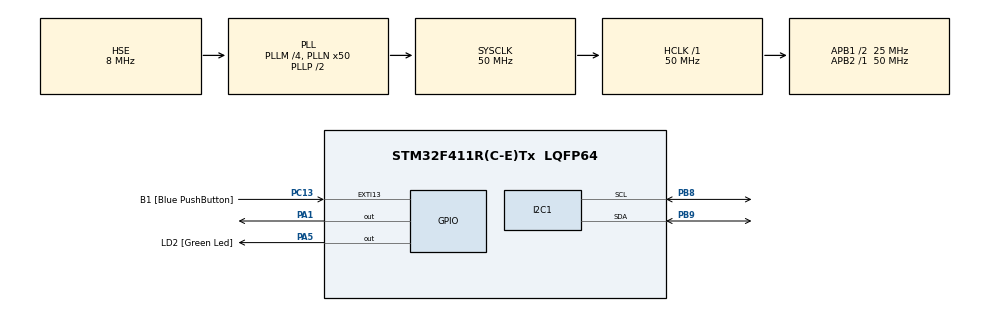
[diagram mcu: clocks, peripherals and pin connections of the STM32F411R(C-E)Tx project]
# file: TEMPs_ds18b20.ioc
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Mcu.Family=STM32F4
Mcu.Name=STM32F411R(C-E)Tx
Mcu.Package=LQFP64
NVIC.PriorityGroup=NVIC_PRIORITYGROUP_0
PA1.Signal=GPIO_Output
PA13.GPIO_Label=TMS
PA13.Signal=SYS_JTMS-SWDIO
PA14.GPIO_Label=TCK
PA14.Signal=SYS_JTCK-SWCLK
PA2.GPIO_Label=USART_TX
PA2.Signal=USART2_TX
PA3.GPIO_Label=USART_RX
PA3.Signal=USART2_RX
PA5.GPIO_Label=LD2 [Green Led]
PA5.Signal=GPIO_Output
PB3.GPIO_Label=SWO
PB3.Signal=SYS_JTDO-SWO
PB8.Mode=I2C
PB8.Signal=I2C1_SCL
PB9.Mode=I2C
PB9.Signal=I2C1_SDA
PC13-ANTI_TAMP.GPIO_Label=B1 [Blue PushButton]
PC13-ANTI_TAMP.GPIO_ModeDefaultEXTI=GPIO_MODE_IT_FALLING
PC13-ANTI_TAMP.Signal=GPXTI13
PC14-OSC32_IN.Signal=RCC_OSC32_IN
PC15-OSC32_OUT.Signal=RCC_OSC32_OUT
PH0\ -\ OSC_IN.Mode=HSE-External-Oscillator
PH0\ -\ OSC_IN.Signal=RCC_OSC_IN
PH1\ -\ OSC_OUT.Mode=HSE-External-Oscillator
PH1\ -\ OSC_OUT.Signal=RCC_OSC_OUT
ProjectManager.HeapSize=0x200
ProjectManager.StackSize=0x400
ProjectManager.TargetToolchain=STM32CubeIDE
RCC.48MHZClocksFreq_Value=25000000
RCC.AHBFreq_Value=50000000
RCC.APB1CLKDivider=RCC_HCLK_DIV2
RCC.APB1Freq_Value=25000000
RCC.APB1TimFreq_Value=50000000
RCC.APB2Freq_Value=50000000
RCC.APB2TimFreq_Value=50000000
RCC.CortexFreq_Value=50000000
RCC.FLatency-AdvancedSettings=FLASH_LATENCY_1
RCC.HCLKFreq_Value=50000000
RCC.HSE_VALUE=8000000
RCC.HSI_VALUE=16000000
RCC.LSE_VALUE=32768
RCC.PLLM=4
RCC.PLLN=50
RCC.PLLSourceVirtual=RCC_PLLSOURCE_HSE
RCC.SYSCLKFreq_VALUE=50000000
RCC.SYSCLKSource=RCC_SYSCLKSOURCE_PLLCLK
RCC.VCOOutputFreq_Value=100000000
TIM11.Period=0xffff-1
TIM11.Prescaler=50-1
VP_TIM11_VS_ClockSourceINT.Mode=Enable_Timer
board=NUCLEO-F411RE

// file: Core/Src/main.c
/* USER CODE BEGIN Header */
/**
  ******************************************************************************
  * @file           : main.c
  * @brief          : Main program body using SSD1306 OLED display and DS18B20 sensor
  ******************************************************************************
  * @attention
  *
  * Copyright (c) 2025 STMicroelectronics.
  * All rights reserved.
  *
  * This software is licensed under terms that can be found in the LICENSE file
  * in the root directory of this software component.
  * If no LICENSE file comes with this software, it is provided AS-IS.
  *
  ******************************************************************************
  */
/* USER CODE END Header */
#include "main.h"

/* USER CODE BEGIN Includes */
#include "ssd1306.h"
#include "ssd1306_fonts.h"
#include "stdio.h"
/* USER CODE END Includes */

I2C_HandleTypeDef hi2c1;
TIM_HandleTypeDef htim11;

void SystemClock_Config(void);
static void MX_GPIO_Init(void);
static void MX_I2C1_Init(void);
static void MX_TIM11_Init(void);

/* USER CODE BEGIN 0 */

/* Delay function using TIM11 */
void delay (uint16_t time)
{
    __HAL_TIM_SET_COUNTER(&htim11, 0);
    while ((__HAL_TIM_GET_COUNTER(&htim11)) < time);
}

/* Display temperature on the SSD1306 OLED */
void Display_Temp (float Temp)
{
    char str[20] = {0};
    ssd1306_SetCursor(0, 0);
    sprintf(str, "TEMP:- %.2f C", Temp);
    ssd1306_WriteString(str, Font_7x10, White);
    ssd1306_UpdateScreen();
}

/* DS18B20 functions and pin configuration */

#define DS18B20_PORT 	GPIOA
#define DS18B20_PIN 	GPIO_PIN_1

/* Configure pin as output */
void Set_Pin_Output (GPIO_TypeDef *GPIOx, uint16_t GPIO_Pin)
{
    GPIO_InitTypeDef GPIO_InitStruct = {0};
    GPIO_InitStruct.Pin = GPIO_Pin;
    GPIO_InitStruct.Mode = GPIO_MODE_OUTPUT_OD;
    GPIO_InitStruct.Speed = GPIO_SPEED_FREQ_LOW;
    HAL_GPIO_Init(GPIOx, &GPIO_InitStruct);
}

/* Configure pin as input */
void Set_Pin_Input (GPIO_TypeDef *GPIOx, uint16_t GPIO_Pin)
{
    GPIO_InitTypeDef GPIO_InitStruct = {0};
    GPIO_InitStruct.Pin = GPIO_Pin;
    GPIO_InitStruct.Mode = GPIO_MODE_INPUT;
    GPIO_InitStruct.Pull = GPIO_NOPULL;
    HAL_GPIO_Init(GPIOx, &GPIO_InitStruct);
}

/* DS18B20 Start signal */
uint8_t DS18B20_Start(void)
{
    uint8_t Response = 0;
    Set_Pin_Output(DS18B20_PORT, DS18B20_PIN); // set the pin as output
    HAL_GPIO_WritePin(DS18B20_PORT, DS18B20_PIN, 0); // pull the pin low
    delay(480); // delay according to datasheet

    Set_Pin_Input(DS18B20_PORT, DS18B20_PIN); // set the pin as input
    delay(80); // delay according to datasheet

    if (!(HAL_GPIO_ReadPin(DS18B20_PORT, DS18B20_PIN)))
        Response = 1; // presence pulse detected
    else
        Response = 0;

    delay(400); // complete the initialization delay

    return Response;
}

/* DS18B20 Write byte */
void DS18B20_Write(uint8_t data)
{
    Set_Pin_Output(DS18B20_PORT, DS18B20_PIN); // set as output

    for (int i = 0; i < 8; i++)
    {
        if ((data & (1 << i)) != 0) // if the bit is high
        {
            // write 1
            Set_Pin_Output(DS18B20_PORT, DS18B20_PIN);
            HAL_GPIO_WritePin(DS18B20_PORT, DS18B20_PIN, 0); // pull low
            delay(1); // wait 1 µs
            Set_Pin_Input(DS18B20_PORT, DS18B20_PIN); // release bus
            delay(60);
        }
        else // if the bit is low
        {
            // write 0
            Set_Pin_Output(DS18B20_PORT, DS18B20_PIN);
            HAL_GPIO_WritePin(DS18B20_PORT, DS18B20_PIN, 0); // pull low
            delay(60);
            Set_Pin_Input(DS18B20_PORT, DS18B20_PIN);
        }
    }
}

/* DS18B20 Read byte */
uint8_t DS18B20_Read(void)
{
    uint8_t value = 0;
    Set_Pin_Input(DS18B20_PORT, DS18B20_PIN);

    for (int i = 0; i < 8; i++)
    {
        Set_Pin_Output(DS18B20_PORT, DS18B20_PIN); // drive line low
        HAL_GPIO_WritePin(DS18B20_PORT, DS18B20_PIN, 0);
        delay(2); // wait 2 µs

        Set_Pin_Input(DS18B20_PORT, DS18B20_PIN); // release bus
        if (HAL_GPIO_ReadPin(DS18B20_PORT, DS18B20_PIN))
        {
            value |= 1 << i; // read a '1'
        }
        delay(60);
    }
    return value;
}

/* USER CODE END 0 */

int main(void)
{
  /* USER CODE BEGIN 1 */
  float Temperature = 0;
  uint8_t Temp_byte1 = 0, Temp_byte2 = 0;
  uint16_t TEMP = 0;
  uint8_t Presence = 0;
  /* USER CODE END 1 */

  /* MCU Configuration--------------------------------------------------------*/

  /* Reset of all peripherals, Initializes the Flash interface and the Systick. */
  HAL_Init();

  /* Configure the system clock */
  SystemClock_Config();

  /* Initialize all configured peripherals */
  MX_GPIO_Init();
  MX_I2C1_Init();
  MX_TIM11_Init();

  /* USER CODE BEGIN 2 */
  HAL_TIM_Base_Start(&htim11);

  // Initialize the SSD1306 OLED display
  ssd1306_Init();
  ssd1306_Fill(Black);
  ssd1306_UpdateScreen();

  /* USER CODE END 2 */

  /* Infinite loop */
  while (1)
  {
    /* DS18B20 Temperature Conversion */
    Presence = DS18B20_Start();
    HAL_Delay(1);
    DS18B20_Write(0xCC); // Skip ROM command
    DS18B20_Write(0x44); // Start temperature conversion
    HAL_Delay(800);      // Wait for conversion

    Presence = DS18B20_Start();
    HAL_Delay(1);
    DS18B20_Write(0xCC); // Skip ROM command
    DS18B20_Write(0xBE); // Read scratchpad

    Temp_byte1 = DS18B20_Read();
    Temp_byte2 = DS18B20_Read();
    TEMP = (Temp_byte2 << 8) | Temp_byte1;
    Temperature = (float)TEMP / 16;

    // Display the temperature on the OLED
    Display_Temp(Temperature);

    HAL_Delay(3000);
  }
}

void SystemClock_Config(void)
{
  RCC_OscInitTypeDef RCC_OscInitStruct = {0};
  RCC_ClkInitTypeDef RCC_ClkInitStruct = {0};

  /** Configure the main internal regulator output voltage */
  __HAL_RCC_PWR_CLK_ENABLE();
  __HAL_PWR_VOLTAGESCALING_CONFIG(PWR_REGULATOR_VOLTAGE_SCALE1);

  /** Initializes the RCC Oscillators */
  RCC_OscInitStruct.OscillatorType = RCC_OSCILLATORTYPE_HSE;
  RCC_OscInitStruct.HSEState       = RCC_HSE_ON;
  RCC_OscInitStruct.PLL.PLLState   = RCC_PLL_ON;
  RCC_OscInitStruct.PLL.PLLSource  = RCC_PLLSOURCE_HSE;
  RCC_OscInitStruct.PLL.PLLM       = 4;
  RCC_OscInitStruct.PLL.PLLN       = 50;
  RCC_OscInitStruct.PLL.PLLP       = RCC_PLLP_DIV2;
  RCC_OscInitStruct.PLL.PLLQ       = 4;
  if (HAL_RCC_OscConfig(&RCC_OscInitStruct) != HAL_OK)
  {
    Error_Handler();
  }

  /** Initializes the CPU, AHB and APB buses clocks */
  RCC_ClkInitStruct.ClockType      = RCC_CLOCKTYPE_HCLK|RCC_CLOCKTYPE_SYSCLK
                                     |RCC_CLOCKTYPE_PCLK1|RCC_CLOCKTYPE_PCLK2;
  RCC_ClkInitStruct.SYSCLKSource   = RCC_SYSCLKSOURCE_PLLCLK;
  RCC_ClkInitStruct.AHBCLKDivider  = RCC_SYSCLK_DIV1;
  RCC_ClkInitStruct.APB1CLKDivider = RCC_HCLK_DIV2;
  RCC_ClkInitStruct.APB2CLKDivider = RCC_HCLK_DIV1;

  if (HAL_RCC_ClockConfig(&RCC_ClkInitStruct, FLASH_LATENCY_1) != HAL_OK)
  {
    Error_Handler();
  }
}

static void MX_I2C1_Init(void)
{
  hi2c1.Instance             = I2C1;
  hi2c1.Init.ClockSpeed      = 100000;
  hi2c1.Init.DutyCycle       = I2C_DUTYCYCLE_2;
  hi2c1.Init.OwnAddress1     = 0;
  hi2c1.Init.AddressingMode  = I2C_ADDRESSINGMODE_7BIT;
  hi2c1.Init.DualAddressMode = I2C_DUALADDRESS_DISABLE;
  hi2c1.Init.OwnAddress2     = 0;
  hi2c1.Init.GeneralCallMode = I2C_GENERALCALL_DISABLE;
  hi2c1.Init.NoStretchMode   = I2C_NOSTRETCH_DISABLE;
  if (HAL_I2C_Init(&hi2c1) != HAL_OK)
  {
    Error_Handler();
  }
}

static void MX_TIM11_Init(void)
{
  htim11.Instance               = TIM11;
  htim11.Init.Prescaler         = 50 - 1;
  htim11.Init.CounterMode       = TIM_COUNTERMODE_UP;
  htim11.Init.Period            = 0xffff - 1;
  htim11.Init.ClockDivision     = TIM_CLOCKDIVISION_DIV1;
  htim11.Init.AutoReloadPreload = TIM_AUTORELOAD_PRELOAD_DISABLE;
  if (HAL_TIM_Base_Init(&htim11) != HAL_OK)
  {
    Error_Handler();
  }
}

static void MX_GPIO_Init(void)
{
  GPIO_InitTypeDef GPIO_InitStruct = {0};

  /* GPIO Ports Clock Enable */
  __HAL_RCC_GPIOC_CLK_ENABLE();
  __HAL_RCC_GPIOH_CLK_ENABLE();
  __HAL_RCC_GPIOA_CLK_ENABLE();
  __HAL_RCC_GPIOB_CLK_ENABLE();

  /* Configure GPIO pin Output Level for DS18B20 pin and LED */
  HAL_GPIO_WritePin(GPIOA, GPIO_PIN_1 | LD2_Pin, GPIO_PIN_RESET);

  /* Configure user button pin if needed (example: B1_Pin) */
  GPIO_InitStruct.Pin  = B1_Pin;
  GPIO_InitStruct.Mode = GPIO_MODE_IT_FALLING;
  GPIO_InitStruct.Pull = GPIO_NOPULL;
  HAL_GPIO_Init(B1_GPIO_Port, &GPIO_InitStruct);

  /* Configure DS18B20 pin and LD2 as output (DS18B20 data line will be reconfigured dynamically) */
  GPIO_InitStruct.Pin   = GPIO_PIN_1 | LD2_Pin;
  GPIO_InitStruct.Mode  = GPIO_MODE_OUTPUT_PP;
  GPIO_InitStruct.Pull  = GPIO_NOPULL;
  GPIO_InitStruct.Speed = GPIO_SPEED_FREQ_LOW;
  HAL_GPIO_Init(GPIOA, &GPIO_InitStruct);

  /* Additional GPIO configuration (e.g., USART) if required */
}

void Error_Handler(void)
{
  __disable_irq();
  while (1)
  {
  }
}
